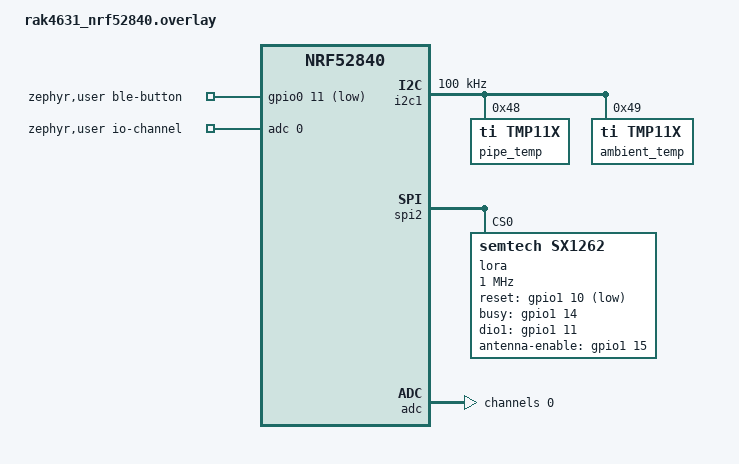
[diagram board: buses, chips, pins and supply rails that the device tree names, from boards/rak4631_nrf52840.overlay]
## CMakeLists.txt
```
# CMakeLists.txt — Zephyr application build for the clamp-on thermal leak
# sensor (application A1).
#
# NOT RUN HERE. There is no cmake and no west on the machine this was written
# on; see README.md for the exact build commands and for what that means.
#
# cmake_minimum_required 3.20.0 is Zephyr's own floor for v3.x/v4.x.

cmake_minimum_required(VERSION 3.20.0)

find_package(Zephyr REQUIRED HINTS $ENV{ZEPHYR_BASE})
project(leakguard_a1 LANGUAGES C)

target_sources(app PRIVATE
  src/main.c
  src/leak_detect.c
  src/uplink.c
  src/valve.c
  src/install_probe.c
)

target_include_directories(app PRIVATE src)

# Four of the five sources above have no Zephyr dependency at all: leak_detect.c,
# uplink.c, valve.c and install_probe.c include nothing but <stdint.h>,
# <stdbool.h> and <stddef.h>. That is what lets tests/ compile them against a
# host compiler with no RTOS, and it is a property worth protecting — if a
# `#include <zephyr/...>` ever appears in one of them, the host tests stop
# building and the byte-exactness of the §1 payload stops being checkable
# against the Node codec and the Python backend.
#
# tests/ is deliberately NOT wired into this CMake build. It is a plain-C
# harness with its own Makefile, because the point of it is to run on a
# developer's machine (or in CI) without a cross toolchain or a Zephyr tree.
```

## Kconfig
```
# Kconfig — application tunables for the clamp-on thermal leak sensor.
#
# Every number the firmware behaviour depends on lives here rather than as a
# literal in a .c file, for one specific reason: the P1 field trial
# (08-roadmap.md §3, "P1 — Prove the alert") is a parameter sweep. The
# nuisance-alert rate is the gate, the dwell window is the main knob, and a knob
# you have to recompile a source file to turn does not get turned.
#
# The pure-logic modules (leak_detect.c, uplink.c, valve.c, install_probe.c) do
# NOT read these symbols. main() copies them into the *_cfg structs those
# modules take as arguments, which is what keeps those four files free of any
# build-system dependency and host-testable. Do not add a CONFIG_ reference to
# any of them.

mainmenu "Clamp-on thermal water-leak sensor"

menu "Leak sensor application"

config APP_SAMPLE_PERIOD_S
	int "Sensor sample period, seconds"
	default 60
	range 10 900
	help
	  How often the two TMP117s are read and the detector is run. This is
	  deliberately much faster than the uplink heartbeat: the detection
	  decision is local (04-connectivity.md §4.2) so it must not be limited to
	  the radio's cadence, and a 15-minute detector could not resolve a dwell
	  window at all.

config APP_HEARTBEAT_MIN
	int "Default uplink heartbeat, minutes"
	default 15
	range 1 240
	help
	  Default only. The backend can change it at runtime within
	  contracts/INTERFACES.md §2's 1..240 via the set_heartbeat downlink, and
	  the new value is persisted to NVS. 15 minutes is the figure the
	  connectivity analysis uses when it computes the worst-case cloud-shutoff
	  latency that justifies deciding locally.

config APP_MIN_UPLINK_INTERVAL_S
	int "Minimum spacing between non-heartbeat uplinks, seconds"
	default 300
	range 30 3600
	help
	  Rate limit on threshold frames. A verdict oscillating around a threshold
	  must not become a transmit storm: on a primary cell that is a battery
	  fault, and on a shared gateway it is somebody else's outage.

config APP_LEAK_DWELL_S
	int "Leak dwell window, seconds"
	default 1800
	range 60 14400
	help
	  How long a negative delta excursion must persist before it is called
	  leak_suspected. THE nuisance-rate knob, and the thing the P1 gate
	  (<0.5 nuisance alerts/device-year) is actually measuring. The default is
	  30 minutes: longer than the longest ordinary draw-off in the simulator's
	  scenario set (shower_morning, appliance_use) and much shorter than the
	  hours a slow leak takes to become expensive.

config APP_LEAK_EXCURSION_CC
	int "Excursion threshold below baseline, centi-degrees C"
	default 150
	range 20 2000
	help
	  How far below the learned per-device baseline the delta must fall to open
	  an excursion. Not a global temperature threshold: the baseline adapts per
	  device because housing stock varies (contracts/INTERFACES.md §5
	  behaviour 5).

config APP_FREEZE_CC
	int "Freeze-risk threshold, centi-degrees C"
	default 400
	range -1000 1500
	help
	  Pipe temperature at or below which the detector reports freeze_risk and
	  the uplink sets the cold_warning flag. One threshold drives both so that
	  the wire flag and the local verdict can never disagree. Application A4 —
	  free upside on the same sensor.

config APP_INSTALL_PROBE_SAMPLES
	int "Install probe duration, 1 Hz samples"
	default 60
	range 20 300
	help
	  How long the install verification watches the two channels while the
	  installer runs the nearest fixture. Install-verification telemetry is a
	  hard product requirement (08-roadmap.md P1, §8 risk 4), and 60 s is about
	  as long as an installer will actually hold a tap open.

config APP_BLE_WINDOW_S
	int "BLE commissioning/recovery advertising window, seconds"
	default 600
	range 30 3600
	depends on BT
	help
	  How long connectable advertising stays up after boot or after a press of
	  the recovery reed switch. Time-boxed rather than permanent for two
	  reasons: continuous connectable advertising is a measurable power line
	  item on a five-year primary cell, and an always-on BLE interface that can
	  reflash a device controlling a water main is attack surface sitting in a
	  basement for a decade.

config APP_WORKQ_STACK_SIZE
	int "Application work queue stack size"
	default 3072
	help
	  The application work queue runs the blocking lorawan_send(), which is why
	  it is separate from the system work queue that the BLE host and the
	  settings subsystem share.

config APP_JOIN_BACKOFF_MIN_S
	int "Initial OTAA join retry backoff, seconds"
	default 30
	range 10 600

config APP_JOIN_BACKOFF_MAX_S
	int "Maximum OTAA join retry backoff, seconds"
	default 3600
	range 60 86400
	help
	  US915 join against a gateway serving one sub-band is routinely slow,
	  because the device sweeps 72 channels and only 8 are listened to. Backing
	  off to an hour is a battery decision, not a politeness one.

config APP_WDT_TIMEOUT_MS
	int "Task watchdog timeout, milliseconds"
	default 300000
	help
	  Must comfortably exceed APP_SAMPLE_PERIOD_S, since the sample work
	  handler is what feeds it. Default is 5 minutes against a 60 s sample.

config APP_BATT_DIVIDER_NUM
	int "Battery divider ratio numerator"
	default 1
	help
	  Measured battery voltage is (adc_mv * NUM) / DEN. Both default to 1,
	  i.e. no divider, because the correct values are a property of the
	  specific carrier board's resistors and MUST be taken from its schematic
	  and then checked against a meter. A wrong ratio here does not fail
	  loudly; it silently mis-reports the battery column that 08-roadmap.md
	  §8 risk 4 uses as a leading indicator.

config APP_BATT_DIVIDER_DEN
	int "Battery divider ratio denominator"
	default 1
	range 1 1000

menu "LoRaWAN join credentials (bench bring-up only)"

config APP_DEV_EUI
	string "DevEUI, 16 hex characters"
	default ""
	help
	  Bench fallback only, and empty by default on purpose: a device with no
	  credentials refuses to join and logs why, rather than shipping with a
	  default key. Production credentials are written per device to the
	  settings partition at manufacture or over BLE at commissioning. A fleet
	  sharing one AppKey is a fleet with one compromise.

config APP_JOIN_EUI
	string "JoinEUI/AppEUI, 16 hex characters"
	default ""

config APP_APP_KEY
	string "AppKey, 32 hex characters"
	default ""
	help
	  Never commit a real key to this repository.

endmenu

menu "Shutoff valve"

config APP_VALVE_PRESENT
	bool "Valve hardware is fitted"
	default n
	help
	  Off by default because the year-1 SKU is sensor-only: 08-roadmap.md §10,
	  "No inline valve in year 1. Triggers every gate at once; resell a
	  certified one." With this off, the valve state machine is still built and
	  still instantiated — with a NULL hardware backend, so every request
	  answers VALVE_RC_NO_HW. That is deliberate: compiling the state machine
	  out would let the shipped build diverge from the tested one.

	  Requires valve-close-gpios and valve-open-gpios on the zephyr,user node.

config APP_LOCAL_SHUTOFF_ENABLED
	bool "Allow the local detector to close the valve"
	default n
	depends on APP_VALVE_PRESENT
	help
	  SHADOW MODE IS THE DEFAULT AND IT IS NOT OPTIONAL. Standing rule 3,
	  08-roadmap.md §0: no customer-visible action until the nuisance rate is
	  measured. An insurer's trust is spent once.

	  With this off, the detector still runs, still produces verdicts, still
	  logs them and still uplinks them — nothing actuates. That is what shadow
	  mode means on the device side, and it is the mirror of the backend's
	  alerting_enabled=false / status="shadow" behaviour in
	  contracts/INTERFACES.md §8.

	  Turning this on is a product decision gated on the P1 exit criterion,
	  not a configuration preference.

config APP_VALVE_PULSE_MS
	int "Latching solenoid drive pulse, milliseconds"
	default 250
	range 20 2000
	depends on APP_VALVE_PRESENT
	help
	  A latching solenoid needs one full pulse and then holds position with no
	  current, which is what makes it inherently fail-as-is
	  (05-open-source-stack.md §5.3). Take the real figure from the valve
	  datasheet; too short is a half-latched stem.

config APP_VALVE_TORQUE_REFUSE_MNM
	int "Breakaway torque above which we refuse to arm, mN.m"
	default 4000
	range 100 50000
	help
	  TORQUE_REFUSE_THRESHOLD in 05-open-source-stack.md §5.3. THE DEFAULT IS
	  NOT A MEASURED NUMBER — it is the right order of magnitude for a 3/4"
	  quarter-turn ball valve and nothing more. Replace it with a bench torque
	  wrench figure for the specific valve and actuator, correlated against the
	  current-sense proxy the firmware actually measures.

	  08-roadmap.md §8 risk 9's leading indicator is "any unit arming above the
	  breakaway-torque threshold", so this number is the metric.

config APP_VALVE_CYCLE_TIMEOUT_MS
	int "Full-travel cycle timeout, milliseconds"
	default 8000
	range 100 60000
	help
	  CYCLE_TIMEOUT_MS in 05-open-source-stack.md §5.3. An overrun is a
	  mechanical problem, so it produces V_FAULT rather than V_REFUSED, and
	  V_FAULT is sticky until a human clears it.

config APP_VALVE_MIN_ACTUATE_MV
	int "Minimum battery to permit a CLOSE, millivolts"
	default 3000
	range 1800 4200
	help
	  Below this the state machine refuses to close but still permits an open.
	  The asymmetry is the point: a failed open leaves the valve where it was,
	  while a failed close risks a partially driven stem — a new failure mode —
	  and closed is never the safe default. See the invariants in src/valve.h.

endmenu

module = APP
module-str = app
source "subsys/logging/Kconfig.template.log_config"

endmenu

source "Kconfig.zephyr"
```

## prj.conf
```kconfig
# prj.conf — clamp-on thermal leak sensor (application A1).
# LoRaWAN Class A end device, US915, BLE for commissioning, MCUboot underneath.
#
# This file follows 05-open-source-stack.md §5.3. Where it adds something the
# document does not have, the addition is commented with its reason.
#
# NOT BUILT HERE. There is no Zephyr tree, no west and no CMake on the machine
# this was written on, so no symbol below has been validated by a build. Every
# line that carries real doubt about the symbol *name* is flagged. An undefined
# symbol in a .conf file is a Kconfig *warning*, not an error, so the build will
# tell you — read the warnings, do not scroll past them.

# ---------------------------------------------------------------------------
# Radio and LoRaWAN MAC
# ---------------------------------------------------------------------------
CONFIG_LORA=y
CONFIG_LORA_SX126X=y                   # SX1262 on RAK4631; same driver covers
                                       # the STM32WL on-die radio via the
                                       # st,stm32wl-subghz-radio compatible
CONFIG_LORAWAN=y

# North America.
#
# VERIFIED 2026-10-14 against upstream subsys/lorawan/Kconfig on zephyr main:
# the choice symbols there are LORAWAN_REGION_{AS923,AU915,CN470,CN779,EU433,
# EU868,KR920,IN865,US915,RU864}. So CONFIG_LORAWAN_REGION_US915 is the correct
# symbol and the LORAMAC_REGION_* alternative below is NOT needed.
#
# This was worth verifying rather than leaving to the build: an undefined Kconfig
# symbol is only a *warning*, so the failure mode is silent — a US device coming
# up in EU868 and never joining a US gateway.
CONFIG_LORAWAN_REGION_US915=y

# ===========================================================================
# THE LINE THAT IS NOT OPTIONAL
# ===========================================================================
# CONFIG_LORAWAN_NVM_SETTINGS persists the LoRaWAN MAC's non-volatile context
# — most importantly dev_nonce — across reboots, through the settings
# subsystem.
#
# WITHOUT IT, THE DEVICE JOINS SUCCESSFULLY EXACTLY ONCE.
#
# The reason is OTAA replay protection. In LoRaWAN 1.0.3/1.0.4 the join request
# carries a DevNonce, and a compliant network server records the highest
# DevNonce it has seen for that DevEUI and rejects any join request with a
# DevNonce less than or equal to it. The upstream Zephyr sample leaves DevNonce
# at a hardcoded value, so the first join is accepted and recorded, and every
# subsequent join after a reboot or a battery change replays the same nonce and
# is silently dropped by the server. The device transmits, nothing answers, and
# there is no error anywhere that says "replayed nonce" — you get a node that
# worked on the bench on Monday and will not rejoin on Tuesday.
#
# 05-open-source-stack.md §5.3 says you will lose a day to this. That is
# optimistic: the symptom (join works once, then never) looks exactly like an
# antenna or coverage problem, which is where the day goes.
#
# Two consequences for the rest of this build, both already handled:
#   - CONFIG_SETTINGS/NVS/FLASH_MAP below are hard prerequisites, not extras;
#   - settings_subsys_init() + settings_load() must run BEFORE lorawan_start(),
#     which is why they are the first thing in main().
CONFIG_LORAWAN_NVM_SETTINGS=y

# Join/MAC behaviour. Public-network mode and ADR are the defaults a TTS or
# Netmore tenancy expects (04-connectivity.md §4.1).
CONFIG_LORAWAN_LOG_LEVEL_INF=y

# ---------------------------------------------------------------------------
# Settings / NVS. Prerequisites for the block above.
# ---------------------------------------------------------------------------
CONFIG_SETTINGS=y
CONFIG_SETTINGS_NVS=y
CONFIG_NVS=y
CONFIG_FLASH=y
CONFIG_FLASH_MAP=y
CONFIG_FLASH_PAGE_LAYOUT=y

# ---------------------------------------------------------------------------
# Sensors
# ---------------------------------------------------------------------------
CONFIG_SENSOR=y
CONFIG_I2C=y

# VERIFIED 2026-10-14 against upstream zephyr main: there is neither a
# `ti,tmp117` nor a `ti,tmp116` binding any more. Both were consolidated into
#
#     dts/bindings/sensor/ti,tmp11x.yaml   compatible: "ti,tmp11x"
#     drivers/sensor/ti/tmp11x/Kconfig     config TMP11X
#
# one driver covering "TMP116, TMP117 and TMP119". So the compatible in both
# board overlays is `ti,tmp11x` and the symbol is CONFIG_TMP11X.
#
# Note CONFIG_TMP11X is `default y` when DT_HAS_TI_TMP11X_ENABLED, i.e. it turns
# itself on once the devicetree node exists. It is set explicitly here anyway so
# that a missing/renamed overlay node fails loudly at build time instead of
# silently dropping the driver and leaving the app with no sensors.
CONFIG_TMP11X=y

# Battery sense through the carrier board's divider.
CONFIG_ADC=y

# ---------------------------------------------------------------------------
# BLE: commissioning and field recovery
# ---------------------------------------------------------------------------
CONFIG_BT=y
CONFIG_BT_PERIPHERAL=y
CONFIG_BT_DEVICE_NAME="leakguard"

# Pair and encrypt. mcumgr over BLE can replace the firmware on a device that
# can close a water main; an unauthenticated local interface on that device is
# not defensible, and 08-roadmap.md §8 risk 13 expects NIST IR 8425 capabilities
# to become a procurement question. The cost of turning this on now is close to
# zero; the cost of turning it on after a carrier RFP is not.
CONFIG_BT_SMP=y

# ---------------------------------------------------------------------------
# MCUboot + mcumgr: signed A/B images, and a way back from a bad one
# ---------------------------------------------------------------------------
CONFIG_BOOTLOADER_MCUBOOT=y

# PRODUCTION BLOCKER, stated here so it is impossible to miss: MCUboot's
# in-tree signing key is a published development key. Shipping with it means
# anyone can sign an image this bootloader will accept. Generate a per-product
# key, set CONFIG_MCUBOOT_SIGNATURE_KEY_FILE in the bootloader build, and keep
# the private half out of this repository.
CONFIG_IMG_MANAGER=y
CONFIG_STREAM_FLASH=y
CONFIG_IMG_ERASE_PROGRESSIVELY=y

CONFIG_MCUMGR=y
CONFIG_MCUMGR_TRANSPORT_BT=y
CONFIG_MCUMGR_GRP_IMG=y
CONFIG_MCUMGR_GRP_OS=y
# NAME CHECK: these two were CONFIG_MCUMGR_CMD_IMG_MGMT and
# CONFIG_MCUMGR_CMD_OS_MGMT before the mcumgr reorganisation in Zephyr 3.1.
CONFIG_ZCBOR=y
CONFIG_BASE64=y

# mcumgr image upload is painfully slow at the default MTU. These are the
# values Zephyr's smp_svr sample uses.
CONFIG_BT_L2CAP_TX_MTU=498
CONFIG_BT_BUF_ACL_RX_SIZE=502
CONFIG_BT_BUF_ACL_TX_SIZE=251
CONFIG_BT_CTLR_DATA_LENGTH_MAX=251
CONFIG_MCUMGR_TRANSPORT_BT_CONN_PARAM_CONTROL=y

# ---------------------------------------------------------------------------
# Power management
# ---------------------------------------------------------------------------
# Li-SOCl2 with a hybrid-layer capacitor, not a coin cell — 08-roadmap.md §8
# risk 7, which also says to derate the datasheet capacity ~40% and to MEASURE
# the pulse behaviour at -10 to 0 C rather than model it. The firmware's job is
# to make that measurement easy: one conversion per sample period, radio and
# sensors suspended otherwise.
CONFIG_PM=y
CONFIG_PM_DEVICE=y
CONFIG_PM_DEVICE_RUNTIME=y

# ---------------------------------------------------------------------------
# Watchdog
# ---------------------------------------------------------------------------
# A hung sample loop on a device with a valve is a safety matter, and the
# recovery is a cold reboot into V_UNKNOWN — which never actuates. See the
# fail-as-is argument in src/valve.h.
CONFIG_WATCHDOG=y
CONFIG_TASK_WDT=y

# ---------------------------------------------------------------------------
# Kernel / logging
# ---------------------------------------------------------------------------
CONFIG_MAIN_STACK_SIZE=2048
CONFIG_SYSTEM_WORKQUEUE_STACK_SIZE=2048
CONFIG_EVENTS=y

CONFIG_LOG=y
CONFIG_LOG_DEFAULT_LEVEL=3
CONFIG_LOG_MODE_DEFERRED=y
# Production builds set CONFIG_LOG=n. The UART and the deferred log thread are
# a real power and flash line item on a five-year cell, and nobody reads a
# serial console in a crawlspace. Keep logging for the P1 field trial, where
# the measurements are the product.

CONFIG_REBOOT=y
CONFIG_ASSERT=y
# ASSERT on in the P1 field build on purpose: a device that stops and reboots is
# diagnosable, and a device that carries on with corrupt state produces data
# that quietly poisons the frozen evaluation set the P1 gate depends on.
```

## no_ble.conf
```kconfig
# no_ble.conf — overlay config for board targets with no Bluetooth radio.
#
# Use with the STM32WLE5 second-source target:
#
#     west build -b nucleo_wl55jc -- -DEXTRA_CONF_FILE=no_ble.conf
#
# The STM32WLE5 (RAK3172, Wio-E5) is a single die with a sub-GHz radio and no
# Bluetooth controller, so prj.conf's BLE block cannot be satisfied there. This
# file turns it off rather than editing prj.conf, so the RAK4631 primary target
# is unaffected.
#
# WHAT IS LOST, stated plainly because it is a product decision and not a build
# detail: mcumgr-over-BLE goes away with CONFIG_BT, and with it the field
# recovery path — an installer standing at a node bricked by a bad OTA has no
# way in without a WAN and a gateway. 05-open-source-stack.md §5.1 calls that
# path "the difference between a bad OTA being an incident and being a
# mass-flooding liability event", and 08-roadmap.md §4 lists MCUboot +
# mcumgr/BLE as a P2 deliverable.
#
# So this configuration is for bring-up and for proving the firmware ports to
# the second source. If the shipping part must have both radios, the answer is
# the RAK11720 at $7.99 rather than this config
# (06-hardware-and-devkits.md; 08-roadmap.md §3 P2).

CONFIG_BT=n
CONFIG_BT_PERIPHERAL=n
CONFIG_BT_SMP=n
CONFIG_MCUMGR_TRANSPORT_BT=n

# MCUboot itself stays. Signed A/B images with rollback are worth having even
# when the only transport is a cable: the trust format is what makes a bad
# image recoverable rather than terminal.
```

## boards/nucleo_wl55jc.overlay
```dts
/*
 * nucleo_wl55jc.overlay — second board target.
 *
 * WHY A SECOND TARGET AT ALL: a dual-source BOM is a deliberate requirement,
 * and 08-roadmap.md §8 risk 8 is the reason — "Module EOL, and a second source
 * invalidates the FCC grant", leading indicator "vendor PCN, or lead time >16
 * weeks", mitigation "pre-identify a footprint-compatible alternate ... budget
 * the re-test as a known cost". The mitigation only works if the firmware
 * already runs on the alternate, and "already runs" has to be true before the
 * PCN arrives, not after. 05-open-source-stack.md §5.1 makes the same point
 * about Zephyr: the reason to use it is that "your firmware survives a BOM
 * change".
 *
 * WHAT THE SHIPPING ALTERNATE ACTUALLY IS: RAK3172 at $5.99, which is an
 * STM32WLE5CC — a single die carrying a Cortex-M4 and an SX126x-class radio
 * together — second-sourced to the Seeed Wio-E5 at $6.49, same die, different
 * vendor (06-hardware-and-devkits.md; 08-roadmap.md §3 P2).
 *
 * WHY THE BOARD TARGET IS A NUCLEO AND NOT A RAK3172: upstream Zephyr ships
 * `nucleo_wl55jc` and that is what can be built today. Two honest caveats:
 *
 *   1. The Nucleo-WL55JC carries an STM32WL55JC (Cortex-M4 *plus* a Cortex-M0+)
 *      whereas the RAK3172 is an STM32WLE5CC (M4 only, 256 KB flash with ECC /
 *      64 KB RAM). For this application they are equivalent — nothing here runs
 *      on the M0+ — but the RAM figure is the one to design against, and 64 KB
 *      with a LoRaWAN MAC and a BLE-less build is comfortable rather than
 *      generous.
 *   2. 06-hardware-and-devkits.md flags the "1" suffix: NUCLEO-WL55JC1 is the
 *      high band (868/915) part and JC2 is 433 MHz. Order the wrong one and
 *      US915 is not a software problem.
 *
 * AND THE ONE THAT MATTERS COMMERCIALLY: this board is bare silicon. It carries
 * no modular grant at all. 06-hardware-and-devkits.md is blunt about the
 * equivalent ST path — "None — bare silicon, you own the whole FCC filing. The
 * ~$2 saving vs RAK3172 costs five figures." Use this target for bring-up and
 * for proving the firmware ports; ship on the RAK3172, which has direct-download
 * FCC, ISED, CE and LoRa Alliance certificates.
 *
 * NOT BUILT OR FLASHED. See README.md. VERIFY blocks are in priority order.
 *
 * ===========================================================================
 * ANTENNA AND RF — the same rule, with a sharper edge on this board
 * ===========================================================================
 * On the RAK4631 the job is to stay inside someone else's grant. Here there is
 * no grant to stay inside, so every antenna decision is yours and every one of
 * them is a test-lab cost:
 *
 *   - the STM32WL has two PA paths, RFO_LP and RFO_HP, and the choice is made
 *     in devicetree below (`power-amplifier-output`). Selecting HP on a board
 *     matched for LP, or exceeding rfo-hp-max-power, radiates out of
 *     specification while software reports success;
 *   - the front-end switch (FE_CTRL lines) must be driven consistently with
 *     the PA selection, or the PA sees the wrong load — which is both a
 *     compliance problem and a way to destroy the die;
 *   - when this moves to a RAK3172, the antenna must match the conditions in
 *     the RAK3172 module grant. Violating them forfeits modular approval and
 *     requires a full FCC Part 15C campaign for the finished product — a
 *     five-figure spend plus weeks of lab calendar, repeated per variant
 *     (08-roadmap.md §3 P2: "read the module grant's antenna conditions before
 *     layout").
 *
 * Treat `power-amplifier-output`, `rfo-hp-max-power` and the FE_CTRL wiring as
 * regulatory settings that happen to live in a .overlay file.
 * ===========================================================================
 */

#include <zephyr/dt-bindings/adc/adc.h>
#include <zephyr/dt-bindings/gpio/gpio.h>

/*
 * ---------------------------------------------------------------------------
 * The two TMP117s. Same addresses, same reasoning as the RAK4631 overlay.
 * ---------------------------------------------------------------------------
 * VERIFY (1): the I2C instance AND its pinctrl. This is the least certain block
 * in either overlay and it is stated as a candidate, not as fact.
 *
 * The pinctrl node labels follow Zephyr's STM32 convention
 * <periph>_<signal>_p<port><pin>, and the pair below assumes I2C2 on PA11/PA12
 * (AF4 on STM32WLE5/WL55). Confirm both the instance and the exact label names
 * before building:
 *
 *     grep -n "i2c2_" $ZEPHYR_BASE/dts/st/wl/stm32wle5-pinctrl.dtsi
 *     grep -rn "i2c" $ZEPHYR_BASE/boards/st/nucleo_wl55jc/nucleo_wl55jc.dts
 *
 * If the board DTS already configures an I2C instance on the Arduino header,
 * use that one and delete the pinctrl lines here — the board DTS should own pin
 * mapping. A wrong pinctrl label fails at build time with the label in the
 * message; a wrong-but-valid one silently drives the wrong pads, which is the
 * outcome worth spending five minutes to avoid.
 */
&i2c2 {
	pinctrl-0 = <&i2c2_scl_pa12 &i2c2_sda_pa11>;
	pinctrl-names = "default";
	status = "okay";
	clock-frequency = <100000>;

	pipe_temp: tmp117@48 {
		compatible = "ti,tmp11x";
		reg = <0x48>;
		status = "okay";
	};

	ambient_temp: tmp117@49 {
		compatible = "ti,tmp11x";
		reg = <0x49>;
		status = "okay";
	};
};

/*
 * ---------------------------------------------------------------------------
 * The radio. On STM32WL it is on-die, reached over the internal SUBGHZSPI.
 * ---------------------------------------------------------------------------
 * This is the structural difference from the RAK4631 and the reason the second
 * target is worth maintaining: there is no external SX1262 and no external SPI
 * bus. The same Zephyr SX126x driver covers it through the
 * `st,stm32wl-subghz-radio` compatible, so src/ needs no change at all — which
 * is precisely the portability claim 05-open-source-stack.md §5.1 makes for
 * Zephyr, tested rather than asserted.
 *
 * VERIFY (2): the in-tree nucleo_wl55jc board DTS is expected to instantiate
 * this node already, as `lora: radio@0` under &subghzspi. Re-stating it at the
 * same path is a no-op merge; a different upstream node name produces a loud
 * duplicate-label error rather than a silent second radio. Check with:
 *
 *     west build -b nucleo_wl55jc -t dts | grep -B2 -A14 subghz
 *
 * If the node is already there, the right change to this file is to delete the
 * &subghzspi block and keep only the property overrides.
 */
&subghzspi {
	status = "okay";

	lora: radio@0 {
		compatible = "st,stm32wl-subghz-radio";
		reg = <0>;
		status = "okay";
		spi-max-frequency = <8000000>;

		/*
		 * REGULATORY SETTING. "rfo-hp" selects the high-power PA path, which
		 * is what a basement-to-gateway link budget wants and what the
		 * Nucleo's HP matching network is built for. It must agree with the
		 * board's front-end switch wiring. On a RAK3172 this choice is fixed
		 * by the module's internal matching — take it from the module
		 * datasheet, not from this file.
		 */
		power-amplifier-output = "rfo-hp";
		rfo-lp-max-power = <15>;
		rfo-hp-max-power = <22>;
	};
};

/ {
	aliases {
		/* main.c resolves the radio through DT_ALIAS(lora0). */
		lora0 = &lora;
	};

	zephyr,user {
		/*
		 * NO BATTERY ADC ON THIS TARGET, on purpose.
		 *
		 * A Nucleo is powered from ST-LINK USB or an external supply; there
		 * is no cell to measure, so publishing an io-channels property here
		 * would mean reporting a number with no physical meaning. main.c
		 * handles the absence explicitly: read_battery_mv() returns -ENODEV
		 * and the sample loop reports 0 mV rather than inventing a voltage,
		 * because the backend's battery column feeds a risk-register metric
		 * (08-roadmap.md §8 risk 4) and must not be fed a fiction.
		 *
		 * This also means the no-ADC code path is exercised by a real build
		 * target rather than only by the host tests.
		 *
		 * On a RAK3172-based board, add the divider here and set
		 * CONFIG_APP_BATT_DIVIDER_NUM/DEN from its schematic:
		 *
		 *     io-channels = <&adc1 5>;
		 *
		 * with a matching channel@5 node under &adc1 and the ADC input pin
		 * added to that node's pinctrl.
		 */

		/* VERIFY (3): B1 user button on the Nucleo is PA0. Used for the BLE
		 * field-recovery window, which on this target only matters if a BLE
		 * build is made — the STM32WLE5 has no Bluetooth controller, so the
		 * production BLE+LoRa part is the RAK11720 ($7.99) and not this one
		 * (06-hardware-and-devkits.md). With CONFIG_BT=n this property is
		 * simply unused. */
		ble-button-gpios = <&gpioa 0 (GPIO_ACTIVE_LOW | GPIO_PULL_UP)>;
	};
};

/*
 * ---------------------------------------------------------------------------
 * A note on CONFIG_BT on this target, because it is a real BOM consequence
 * ---------------------------------------------------------------------------
 * prj.conf turns BLE on, and that is correct for the RAK4631 primary target.
 * The STM32WLE5 has no Bluetooth radio, so a build for this board must either
 * drop CONFIG_BT (and with it CONFIG_MCUMGR_TRANSPORT_BT) or move to a part
 * that has both — RAK11720 at $7.99, which is what 08-roadmap.md §3 P2 names
 * for the "if you do need BLE in the product" case. Use an overlay conf file
 * rather than editing prj.conf, so the primary target stays untouched:
 *
 *     west build -b nucleo_wl55jc -- -DEXTRA_CONF_FILE=no_ble.conf
 *
 * That trade-off is the whole second-source question in miniature: the $5.99
 * part is cheaper precisely because it does one radio, and dropping BLE means
 * dropping mcumgr-over-BLE field recovery — which 08-roadmap.md §4 lists as a
 * P2 deliverable and which is how a bricked node gets rescued without a WAN.
 * It is a decision to make with the BOM in front of you, not a config tweak.
 */
```

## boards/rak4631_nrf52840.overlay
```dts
/*
 * rak4631_nrf52840.overlay — primary board target.
 *
 * RAK WisBlock: RAK19007 base ($9.99) + RAK4631 core ($17.99) = nRF52840
 * (Cortex-M4F, 1 MB flash / 256 KB RAM) plus an SX1262, pre-certified as a
 * module. 06-hardware-and-devkits.md picks this exact pair as the fastest route
 * to a bench node that has LoRa and BLE together with certificates already in
 * hand.
 *
 * NOT BUILT OR FLASHED. There is no Zephyr tree on the machine this was written
 * on, so nothing here has been through dtc. Blocks marked VERIFY are the ones a
 * reviewer with a tree should check first, in the order given.
 *
 * ===========================================================================
 * ANTENNA AND RF — READ BEFORE CHANGING ANYTHING IN THE &spi2 BLOCK
 * ===========================================================================
 * The RAK4631 is sold with a modular FCC/ISED grant, and that grant is what
 * makes this a $1.5-5k certification line item instead of a $20-60k one
 * (08-roadmap.md §3, P2: "FCC via modular inheritance"). Modular approval is
 * conditional, and the conditions that bite are about the antenna:
 *
 *   - the antenna must be one of the types and gains named in the module
 *     grant, fed through the trace impedance the grant assumes;
 *   - a higher-gain antenna, a different connector, a redesigned feed, or a
 *     conducted power above the granted limit all take the product OUTSIDE the
 *     modular approval;
 *   - outside it, the product is an intentional radiator you own end to end,
 *     which means a full FCC Part 15C campaign — a five-figure spend and
 *     weeks of lab calendar, repeated for every variant.
 *
 * 08-roadmap.md P2 says it in four words: "read the module grant's antenna
 * conditions before layout." The grant is downloadable from RAK
 * (06-hardware-and-devkits.md records that the FCC/ISED certificates are
 * direct downloads, though it also notes the FCC ID string is not printed on
 * the product page — get the actual grant PDF, not the marketing claim).
 *
 * The tx-enable/rx-enable/dio2 arrangement below is the module's RF switch.
 * Getting it wrong does not merely degrade range: driving the PA into a
 * mis-switched front end radiates out of specification while looking fine in
 * software, which is the failure mode that invalidates a pre-compliance scan.
 * ===========================================================================
 */

/*
 * VERIFY (0): these four dt-binding headers are the ones that carry the macros
 * used below — ADC_ACQ_TIME/ADC_GAIN_*, NRF_SAADC_AIN*, GPIO_ACTIVE_*, and
 * SX126X_DIO3_TCXO_*. Their paths are from memory, not from a tree on this
 * machine. A wrong path fails at the preprocessor with the filename in the
 * message, so this is the cheapest of all the VERIFY items to resolve.
 */
#include <zephyr/dt-bindings/adc/adc.h>
#include <zephyr/dt-bindings/adc/nrf-saadc.h>
#include <zephyr/dt-bindings/gpio/gpio.h>
#include <zephyr/dt-bindings/lora/sx126x.h>

/*
 * ---------------------------------------------------------------------------
 * The two TMP117s. Pipe at 0x48, ambient at 0x49.
 * ---------------------------------------------------------------------------
 * Two TMP117s and not an NTC divider, because the signal is a small persistent
 * delta against a noisy, drifting room and an NTC cannot resolve it
 * (06-hardware-and-devkits.md, "Use two TMP117, not an NTC divider"). The
 * TMP117 is a +/-0.1 C class part at $3.62-3.73 @1k, which is the single
 * largest sensing line in the BOM and is worth it for exactly that reason.
 *
 * Addressing: the TMP117's ADD0 pin selects 0x48 (GND) or 0x49 (V+), so these
 * two addresses are the no-extra-parts way to get both channels on one bus.
 *
 * RESOLVED 2026-10-14 against upstream zephyr main: neither `ti,tmp117` nor
 * `ti,tmp116` exists as a binding any more. They were consolidated into
 * dts/bindings/sensor/ti,tmp11x.yaml (compatible "ti,tmp11x", one driver at
 * drivers/sensor/ti/tmp11x covering TMP116/TMP117/TMP119), so that is what both
 * nodes below use, with CONFIG_TMP11X in prj.conf.
 *
 * The binding also exposes `odr` and `oversampling` properties, both defaulting
 * to the part's power-up configuration (1000 ms, 8-sample averaging). Those
 * defaults are left in place deliberately: 8-sample averaging is what buys the
 * low noise this detector needs to see a sub-degree persistent delta, and the
 * sampling interval is driven by the app's own duty cycle, not by the sensor's
 * continuous-conversion rate.
 *
 * VERIFY (2): the WisBlock I2C instance. This assumes i2c1, which is what the
 * RAK4631 board support uses for the WisBlock sensor bus. Confirm against
 * boards/rakwireless/rak4631/rak4631_nrf52840.dts, and do not add pinctrl here
 * — the board DTS owns the pin mapping and overriding it from an overlay is how
 * you end up driving the wrong pads.
 */
&i2c1 {
	status = "okay";
	/* 100 kHz standard mode, written as a literal to avoid depending on
	 * whether I2C_BITRATE_STANDARD is reachable from a dt-bindings header in
	 * this tree. Two TMP117s produce two 16-bit reads a minute; there is
	 * nothing to gain from fast mode and signal integrity to lose. */
	clock-frequency = <100000>;

	pipe_temp: tmp117@48 {
		compatible = "ti,tmp11x";
		reg = <0x48>;
		status = "okay";
	};

	ambient_temp: tmp117@49 {
		compatible = "ti,tmp11x";
		reg = <0x49>;
		status = "okay";
	};
};

/*
 * ---------------------------------------------------------------------------
 * SX1262 on SPI. See the antenna warning at the top of this file.
 * ---------------------------------------------------------------------------
 * VERIFY (3), and this one can fail the build loudly, which is the intended
 * behaviour: the in-tree RAK4631 board DTS is expected to instantiate the
 * SX1262 itself, on spi2, as `lora: sx1262@0`. Re-stating the same node at the
 * same path with the same name merges cleanly and is a no-op. If the upstream
 * node is spelled differently — `lora@0`, say — dtc will reject the duplicate
 * `lora` label and the build will stop with a clear message. That is far better
 * than the alternative failure, which would be a second, silent, non-functional
 * radio node. Check with:
 *
 *     west build -b rak4631/nrf52840 -t dts | grep -B2 -A16 sx126
 *
 * and if the names differ, delete this &spi2 block and keep only the property
 * overrides you actually need.
 *
 * The GPIO assignments below are the RAK4631 module's documented SX1262
 * connections. They are TAKEN FROM THE BOARD SUPPORT AND MODULE DATASHEET, not
 * invented — but they are also exactly the thing 05-open-source-stack.md §5.3
 * flags as "pin names are placeholders: take the real ones from the module
 * datasheet", so check them against the RAK4631 schematic rather than trusting
 * this file.
 */
&spi2 {
	status = "okay";

	lora: sx1262@0 {
		compatible = "semtech,sx1262";
		reg = <0>;
		status = "okay";

		/* 1 MHz is conservative and costs nothing: the SX1262 command
		 * traffic is tiny and SPI integrity through a module's castellated
		 * pads is worth more than the microseconds. */
		spi-max-frequency = <1000000>;

		reset-gpios = <&gpio1 10 GPIO_ACTIVE_LOW>;
		busy-gpios = <&gpio1 14 GPIO_ACTIVE_HIGH>;
		dio1-gpios = <&gpio1 11 GPIO_ACTIVE_HIGH>;

		/* RF switch. The RAK4631 routes the antenna switch from DIO2, so
		 * `dio2-tx-enable` is set and there are no separate tx/rx enable
		 * GPIOs; the discrete tx-enable-gpios / rx-enable-gpios form in
		 * 05-open-source-stack.md §5.3 is for a board that switches in
		 * discrete logic instead. One or the other — never both. */
		dio2-tx-enable;
		antenna-enable-gpios = <&gpio1 15 GPIO_ACTIVE_HIGH>;

		/* The module has a 32 MHz TCXO powered from DIO3 at 1.8 V. Both of
		 * these matter more than they look: a TCXO that has not settled
		 * produces a frequency error that reads as "no coverage", and that
		 * is one of the standard multi-day debugging detours on SX126x. */
		dio3-tcxo-voltage = <SX126X_DIO3_TCXO_1V8>;
		tcxo-power-startup-delay-ms = <5>;
	};
};

/ {
	aliases {
		/* main.c resolves the radio through DT_ALIAS(lora0), which is what
		 * Zephyr's own LoRaWAN sample does. Harmless if the board DTS
		 * already defines it to the same node. */
		lora0 = &lora;
	};

	/*
	 * -------------------------------------------------------------------
	 * Application-specific GPIO/ADC, on the `zephyr,user` node.
	 * -------------------------------------------------------------------
	 * `zephyr,user` is Zephyr's documented catch-all for an application's own
	 * devicetree references. It is used here instead of inventing a private
	 * binding for the battery divider, because the divider is a property of
	 * the carrier board — the WisBlock base and our own P2 PCB will not have
	 * the same resistors, and a binding would imply a stability this does not
	 * have.
	 */
	zephyr,user {
		/* Battery sense. VERIFY (4): the SAADC input and the divider ratio
		 * must come from the RAK19007 base-board schematic and then be
		 * checked with a meter against a known cell voltage. They are NOT
		 * verified here. Set CONFIG_APP_BATT_DIVIDER_NUM/DEN to match; both
		 * default to 1 (no divider) so that a wrong ratio shows up as an
		 * obviously wrong voltage rather than a plausible wrong one. */
		io-channels = <&adc 0>;

		/* Reed switch / button for the BLE field-recovery window. An
		 * installer standing at an unresponsive node needs a way to open an
		 * mcumgr window without a WAN, a gateway or a cloud (05 §5.1:
		 * "re-flash a bricked node over BLE, no WAN needed"). A reed switch
		 * is preferred over a button on a sealed enclosure.
		 * VERIFY (5): pin from the carrier schematic. */
		ble-button-gpios = <&gpio0 11 (GPIO_ACTIVE_LOW | GPIO_PULL_UP)>;

		/*
		 * Valve drive lines are intentionally absent on this board.
		 * CONFIG_APP_VALVE_PRESENT defaults to n because the year-1 SKU is
		 * sensor-only (08-roadmap.md §10). When a valve carrier exists, add:
		 *
		 *     valve-close-gpios = <&gpio0 X GPIO_ACTIVE_HIGH>;
		 *     valve-open-gpios  = <&gpio0 Y GPIO_ACTIVE_HIGH>;
		 *
		 * and note that main.c configures both as GPIO_OUTPUT_INACTIVE at
		 * boot, so a latching solenoid comes up de-energised and holding
		 * whatever position it was in. That is fail-as-is implemented in
		 * hardware rather than argued in software.
		 */
	};
};

/*
 * ---------------------------------------------------------------------------
 * SAADC channel for the battery divider.
 * ---------------------------------------------------------------------------
 * ADC_GAIN_1_6 against the 0.6 V internal reference puts full scale at 3.6 V.
 * A Li-SOCl2 cell sits at 3.6 V nominal and can read ~3.67 V at open circuit,
 * so the external divider must bring the pin below full scale with margin —
 * which is the other reason the divider ratio above has to be a measured
 * number and not a guess. 08-roadmap.md §8 risk 7: Li-SOCl2 with a hybrid-layer
 * capacitor, never coin cells, and derate the datasheet capacity about 40%.
 */
&adc {
	status = "okay";
	#address-cells = <1>;
	#size-cells = <0>;

	channel@0 {
		reg = <0>;
		zephyr,gain = "ADC_GAIN_1_6";
		zephyr,reference = "ADC_REF_INTERNAL";
		zephyr,acquisition-time = <ADC_ACQ_TIME(ADC_ACQ_TIME_MICROSECONDS, 40)>;
		zephyr,input-positive = <NRF_SAADC_AIN0>;
		zephyr,resolution = <12>;
	};
};
```

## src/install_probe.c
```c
/*
 * install_probe.c — thermal install verification plus the valve probe record.
 * No Zephyr includes; see the header.
 */

#include "install_probe.h"

static const char *const result_names[] = {
	[INSTALL_UNKNOWN] = "unknown",
	[INSTALL_VERIFIED] = "verified",
	[INSTALL_FAIL_INCOMPLETE] = "incomplete",
	[INSTALL_FAIL_SENSORS_IDENTICAL] = "sensors_identical",
	[INSTALL_FAIL_NO_THERMAL_RESPONSE] = "no_thermal_response",
	[INSTALL_FAIL_AMBIENT_MOVED] = "ambient_moved",
	[INSTALL_FAIL_IMPLAUSIBLE] = "implausible_reading",
};

const char *install_result_name(enum install_result r)
{
	if ((unsigned int)r >= (sizeof(result_names) / sizeof(result_names[0]))) {
		return "unknown";
	}
	return result_names[r];
}

bool install_result_is_verified(enum install_result r)
{
	return r == INSTALL_VERIFIED;
}

void install_probe_cfg_defaults(struct install_probe_cfg *cfg)
{
	if (cfg == NULL) {
		return;
	}
	cfg->min_pipe_response_cc = 150;    /* 1.50 C */
	cfg->max_ambient_response_cc = 60;  /* 0.60 C */
	cfg->min_separation_cc = 20;        /* 0.20 C */
	cfg->valid_min_cc = -4000;
	cfg->valid_max_cc = 8000;
	cfg->min_samples = 20U;             /* ~20 s at 1 Hz */
}

static void cfg_or_defaults(const struct install_probe_cfg **cfg, struct install_probe_cfg *scratch)
{
	if (*cfg == NULL) {
		install_probe_cfg_defaults(scratch);
		*cfg = scratch;
	}
}

void install_probe_begin(struct install_probe_state *st)
{
	if (st == NULL) {
		return;
	}
	st->n = 0U;
	st->implausible = false;
	st->pipe_min = 0;
	st->pipe_max = 0;
	st->amb_min = 0;
	st->amb_max = 0;
	st->sep_max = 0;
	st->first_pipe_cc = 0;
	st->last_pipe_cc = 0;
	st->first_amb_cc = 0;
	st->last_amb_cc = 0;
}

static int32_t abs_i32(int32_t v)
{
	return (v < 0) ? -v : v;
}

void install_probe_feed(struct install_probe_state *st, const struct install_probe_cfg *cfg,
			int32_t pipe_cc, int32_t ambient_cc)
{
	struct install_probe_cfg scratch;
	int32_t sep;

	if (st == NULL) {
		return;
	}
	cfg_or_defaults(&cfg, &scratch);

	if ((pipe_cc < cfg->valid_min_cc) || (pipe_cc > cfg->valid_max_cc) ||
	    (ambient_cc < cfg->valid_min_cc) || (ambient_cc > cfg->valid_max_cc)) {
		/* Sticky: one implausible reading during commissioning is enough to
		 * fail the install. Better a second attempt by an installer who is
		 * standing right there than a device that reports for five years and
		 * is never believed. */
		st->implausible = true;
		return;
	}

	if (st->n == 0U) {
		st->pipe_min = pipe_cc;
		st->pipe_max = pipe_cc;
		st->amb_min = ambient_cc;
		st->amb_max = ambient_cc;
		st->first_pipe_cc = pipe_cc;
		st->first_amb_cc = ambient_cc;
		st->sep_max = 0;
	}

	if (pipe_cc < st->pipe_min) {
		st->pipe_min = pipe_cc;
	}
	if (pipe_cc > st->pipe_max) {
		st->pipe_max = pipe_cc;
	}
	if (ambient_cc < st->amb_min) {
		st->amb_min = ambient_cc;
	}
	if (ambient_cc > st->amb_max) {
		st->amb_max = ambient_cc;
	}

	sep = abs_i32(pipe_cc - ambient_cc);
	if (sep > st->sep_max) {
		st->sep_max = sep;
	}

	st->last_pipe_cc = pipe_cc;
	st->last_amb_cc = ambient_cc;

	if (st->n < 255U) {
		st->n++;
	}
}

enum install_result install_probe_finish(const struct install_probe_state *st,
					 const struct install_probe_cfg *cfg)
{
	struct install_probe_cfg scratch;
	int32_t pipe_swing;
	int32_t amb_swing;

	if (st == NULL) {
		return INSTALL_UNKNOWN;
	}
	cfg_or_defaults(&cfg, &scratch);

	if (st->implausible) {
		return INSTALL_FAIL_IMPLAUSIBLE;
	}
	if (st->n < cfg->min_samples) {
		return INSTALL_FAIL_INCOMPLETE;
	}

	pipe_swing = st->pipe_max - st->pipe_min;
	amb_swing = st->amb_max - st->amb_min;

	/*
	 * Order matters, and it is the order that gives the installer the most
	 * useful single instruction.
	 *
	 * Identical channels first: if the two sensors never separated, no other
	 * test means anything, and the fix ("the clamp is not on the pipe") is
	 * unambiguous.
	 */
	if (st->sep_max < cfg->min_separation_cc) {
		return INSTALL_FAIL_SENSORS_IDENTICAL;
	}

	/* Then: did the room move? Checked BEFORE the pipe response, because a
	 * room-wide thermal event can satisfy the pipe test for the wrong reason
	 * and we must not accept it. The failure instruction is "close the door /
	 * wait for the room to settle and retry". */
	if (amb_swing > cfg->max_ambient_response_cc) {
		return INSTALL_FAIL_AMBIENT_MOVED;
	}

	/* Finally: did the pipe respond to the fixture the installer ran? */
	if (pipe_swing < cfg->min_pipe_response_cc) {
		return INSTALL_FAIL_NO_THERMAL_RESPONSE;
	}

	return INSTALL_VERIFIED;
}

void install_record_init(struct install_record *rec)
{
	if (rec == NULL) {
		return;
	}
	rec->ts_s = 0U;
	rec->thermal = INSTALL_UNKNOWN;
	rec->delta_at_install_cc = 0;
	rec->valve_present = false;
	rec->valve.breakaway_torque_mnm = 0U;
	rec->valve.post_cycle_stem_leak = false;
	rec->valve.cycle_time_ms = 0U;
	rec->valve.completed = false;
}

bool install_record_sensor_verified(const struct install_record *rec)
{
	if (rec == NULL) {
		return false;
	}
	return install_result_is_verified(rec->thermal);
}
```
